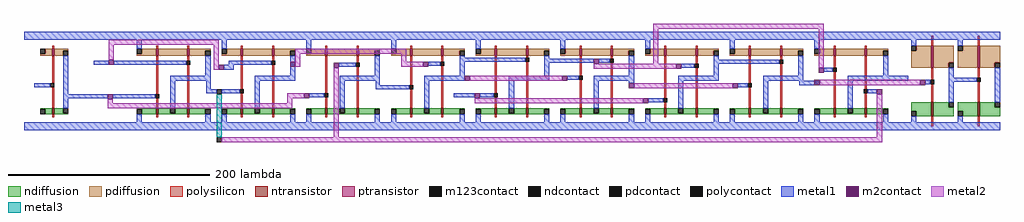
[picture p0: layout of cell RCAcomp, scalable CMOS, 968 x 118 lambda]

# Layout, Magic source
magic
tech scmos
<< ntransistor >>
rect -41 28 -39 34
<< ptransistor >>
rect -41 86 -39 93
<< ndiffusion >>
rect -53 33 -41 34
rect -48 28 -41 33
rect -39 29 -30 34
rect -39 28 -25 29
<< pdiffusion >>
rect -48 88 -41 93
rect -53 86 -41 88
rect -39 91 -25 93
rect -39 86 -30 91
<< ndcontact >>
rect -53 28 -48 33
rect -30 29 -25 34
<< pdcontact >>
rect -53 88 -48 93
rect -30 86 -25 91
<< polysilicon >>
rect -41 93 -39 96
rect -41 59 -39 86
rect -41 34 -39 55
rect -41 25 -39 28
<< polycontact >>
rect -43 55 -39 59
rect 830 58 834 62
rect 876 60 880 64
<< metal1 >>
rect -69 102 18 110
rect 788 102 811 110
rect 853 102 857 110
rect -59 55 -43 59
rect -30 48 -25 86
rect 825 58 830 62
rect 853 60 876 64
rect -30 44 0 48
rect -30 34 -25 44
rect -69 12 18 20
rect 788 12 811 20
rect 853 12 857 20
<< m2contact >>
rect 715 57 720 62
rect 820 57 825 62
<< metal2 >>
rect 720 57 820 62
use FullAdder  FullAdder_0
transform 1 0 54 0 1 3
box -54 -3 754 115
use inverterThick  inverterThick_0
transform 1 0 825 0 1 80
box -14 -68 28 30
use inverterThick  inverterThick_1
transform 1 0 871 0 1 80
box -14 -68 28 30
<< end >>

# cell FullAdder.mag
magic
tech scmos
<< polycontact >>
rect 38 74 42 78
rect 122 74 126 78
rect 374 77 378 81
rect 206 72 210 76
rect 290 73 294 77
rect 458 76 462 80
rect 626 75 630 79
rect 542 71 546 75
rect 679 67 683 71
rect 427 59 431 63
rect 259 50 263 54
rect 595 52 599 56
rect 91 46 95 50
rect 710 46 714 50
rect 7 41 11 45
rect 175 42 179 46
rect 343 42 347 46
rect 511 37 515 41
<< metal1 >>
rect -36 99 -11 107
rect 62 99 73 107
rect 146 99 157 107
rect 230 99 241 107
rect 314 99 325 107
rect 398 99 409 107
rect 482 99 493 107
rect 566 99 577 107
rect 650 99 661 107
rect -54 74 -39 78
rect -34 74 38 78
rect 80 74 122 78
rect 314 77 374 81
rect 75 69 85 74
rect 189 72 206 76
rect 278 73 290 77
rect 398 76 442 80
rect 447 76 458 80
rect 566 75 626 79
rect 529 71 542 75
rect 670 67 679 71
rect 416 59 427 63
rect 734 58 754 63
rect 58 50 62 58
rect 226 54 230 58
rect 477 56 482 58
rect 226 50 259 54
rect 585 52 595 56
rect 646 54 666 58
rect 58 46 68 50
rect 73 46 91 50
rect 714 46 723 50
rect -54 41 -40 45
rect -35 41 7 45
rect 160 42 175 46
rect 303 42 324 46
rect 329 42 343 46
rect 496 37 511 41
rect -36 9 -11 17
rect 62 9 73 17
rect 146 9 157 17
rect 230 9 241 17
rect 314 9 325 17
rect 398 9 409 17
rect 482 9 493 17
rect 566 9 577 17
rect 650 9 661 17
<< m2contact >>
rect -39 74 -34 79
rect 70 69 75 74
rect 141 72 146 77
rect 184 71 189 76
rect 273 72 278 77
rect 442 75 447 80
rect 524 70 529 75
rect 665 66 670 71
rect 314 58 319 63
rect 411 58 416 63
rect 477 51 482 56
rect 580 51 585 56
rect -40 40 -35 45
rect 155 41 160 46
rect 324 41 329 46
rect 723 45 728 50
rect 491 36 496 41
<< metal2 >>
rect 501 110 670 115
rect -39 94 70 99
rect -39 79 -34 94
rect 65 69 70 94
rect 146 85 256 90
rect 146 72 151 85
rect 251 77 256 85
rect 251 72 273 77
rect 501 75 506 110
rect -40 36 -35 40
rect 138 41 155 46
rect 138 36 143 41
rect -40 31 143 36
rect 184 2 189 71
rect 442 70 524 75
rect 665 71 670 110
rect 319 58 411 63
rect 482 51 580 56
rect 324 36 491 41
rect 723 2 728 45
rect 73 -3 728 2
<< m123contact >>
rect 68 45 73 50
rect 68 -3 73 2
<< metal3 >>
rect 68 2 73 45
use 2NOR  2NOR_0
transform 1 0 9 0 1 82
box -20 -73 53 25
use 2NOR  2NOR_1
transform 1 0 93 0 1 82
box -20 -73 53 25
use 2NOR  2NOR_2
transform 1 0 177 0 1 82
box -20 -73 53 25
use 2NOR  2NOR_3
transform 1 0 261 0 1 82
box -20 -73 53 25
use 2NOR  2NOR_4
transform 1 0 345 0 1 82
box -20 -73 53 25
use 2NOR  2NOR_5
transform 1 0 429 0 1 82
box -20 -73 53 25
use 2NOR  2NOR_6
transform 1 0 513 0 1 82
box -20 -73 53 25
use 2NOR  2NOR_7
transform 1 0 597 0 1 82
box -20 -73 53 25
use 2NOR  2NOR_8
transform 1 0 681 0 1 82
box -20 -73 53 25
<< labels >>
rlabel metal1 -47 76 -47 76 1 A
rlabel metal1 -51 43 -51 43 3 B
rlabel metal1 310 44 310 44 1 Cin
rlabel metal1 664 56 664 56 1 S
rlabel metal1 752 61 752 61 7 Cout
rlabel metal1 -31 103 -31 103 1 Vdd
rlabel metal1 -32 12 -32 12 1 Gnd
<< end >>

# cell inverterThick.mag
magic
tech scmos
<< ntransistor >>
rect 6 -54 8 -40
<< ptransistor >>
rect 6 -6 8 16
<< ndiffusion >>
rect -14 -49 6 -40
rect -9 -54 6 -49
rect 8 -45 23 -40
rect 8 -54 28 -45
<< pdiffusion >>
rect -9 11 6 16
rect -14 -6 6 11
rect 8 -1 28 16
rect 8 -6 23 -1
<< ndcontact >>
rect -14 -54 -9 -49
rect 23 -45 28 -40
<< pdcontact >>
rect -14 11 -9 16
rect 23 -6 28 -1
<< polysilicon >>
rect 6 16 8 26
rect 6 -40 8 -6
rect 6 -64 8 -54
<< metal1 >>
rect -14 22 28 30
rect -14 16 -9 22
rect 23 -40 28 -6
rect -14 -60 -9 -54
rect -14 -68 28 -60
<< end >>

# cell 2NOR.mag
magic
tech scmos
<< ntransistor >>
rect -1 -57 1 -51
rect 30 -57 32 -51
<< ptransistor >>
rect -1 1 1 8
rect 30 1 32 8
<< ndiffusion >>
rect -20 -52 -1 -51
rect -15 -57 -1 -52
rect 1 -56 13 -51
rect 18 -56 30 -51
rect 1 -57 30 -56
rect 32 -52 53 -51
rect 32 -57 48 -52
<< pdiffusion >>
rect -15 3 -1 8
rect -20 1 -1 3
rect 1 1 30 8
rect 32 6 53 8
rect 32 1 48 6
<< ndcontact >>
rect -20 -57 -15 -52
rect 13 -56 18 -51
rect 48 -57 53 -52
<< pdcontact >>
rect -20 3 -15 8
rect 48 1 53 6
<< polysilicon >>
rect -1 8 1 11
rect 30 8 32 11
rect -1 -51 1 1
rect 30 -51 32 1
rect -1 -60 1 -57
rect 30 -60 32 -57
<< metal1 >>
rect -20 17 53 25
rect -20 8 -15 17
rect 48 -19 53 1
rect 13 -24 53 -19
rect 13 -51 18 -24
rect -20 -65 -15 -57
rect 48 -65 53 -57
rect -20 -73 53 -65
<< labels >>
rlabel metal1 -17 21 -17 21 4 Vdd
rlabel metal1 -16 -71 -16 -71 2 Gnd
rlabel polysilicon 0 -8 0 -8 1 A
rlabel polysilicon 31 -7 31 -7 1 B
rlabel metal1 41 -22 41 -22 1 Out
<< end >>
